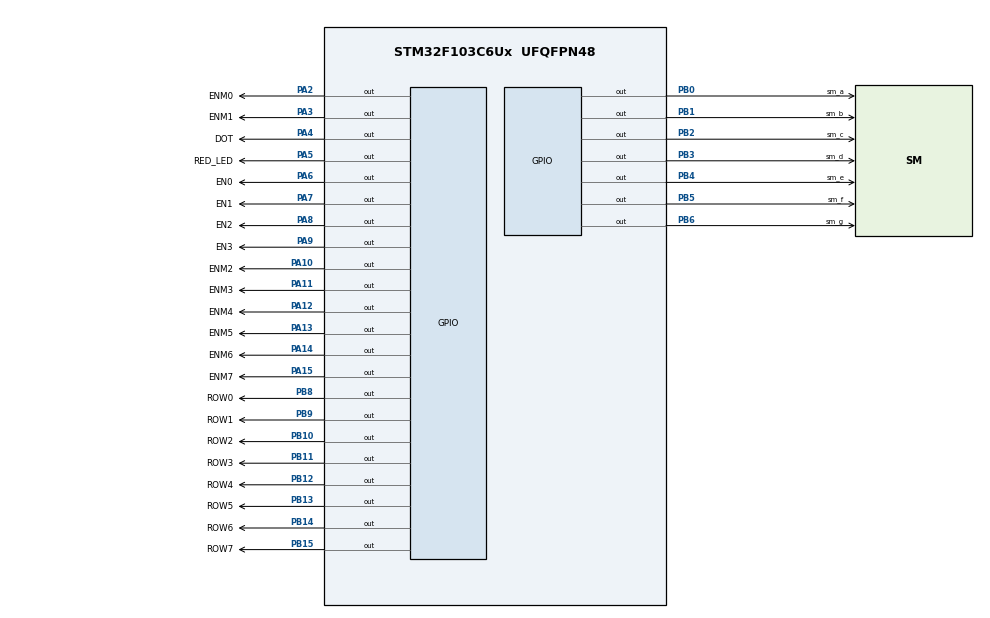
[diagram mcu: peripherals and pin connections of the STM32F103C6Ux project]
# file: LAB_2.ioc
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Mcu.Family=STM32F1
Mcu.Name=STM32F103C6Ux
Mcu.Package=UFQFPN48
NVIC.PriorityGroup=NVIC_PRIORITYGROUP_4
NVIC.TIM2_IRQn=true\:0\:0\:false\:false\:true\:true\:true
PA10.GPIO_Label=ENM2
PA10.Signal=GPIO_Output
PA11.GPIO_Label=ENM3
PA11.Signal=GPIO_Output
PA12.GPIO_Label=ENM4
PA12.Signal=GPIO_Output
PA13.GPIO_Label=ENM5
PA13.Signal=GPIO_Output
PA14.GPIO_Label=ENM6
PA14.Signal=GPIO_Output
PA15.GPIO_Label=ENM7
PA15.Signal=GPIO_Output
PA2.GPIO_Label=ENM0
PA2.Signal=GPIO_Output
PA3.GPIO_Label=ENM1
PA3.Signal=GPIO_Output
PA4.GPIO_Label=DOT
PA4.Signal=GPIO_Output
PA5.GPIO_Label=RED_LED
PA5.Signal=GPIO_Output
PA6.GPIO_Label=EN0
PA6.Signal=GPIO_Output
PA7.GPIO_Label=EN1
PA7.Signal=GPIO_Output
PA8.GPIO_Label=EN2
PA8.Signal=GPIO_Output
PA9.GPIO_Label=EN3
PA9.Signal=GPIO_Output
PB0.GPIO_Label=sm_a
PB0.Signal=GPIO_Output
PB1.GPIO_Label=sm_b
PB1.Signal=GPIO_Output
PB10.GPIO_Label=ROW2
PB10.Signal=GPIO_Output
PB11.GPIO_Label=ROW3
PB11.Signal=GPIO_Output
PB12.GPIO_Label=ROW4
PB12.Signal=GPIO_Output
PB13.GPIO_Label=ROW5
PB13.Signal=GPIO_Output
PB14.GPIO_Label=ROW6
PB14.Signal=GPIO_Output
PB15.GPIO_Label=ROW7
PB15.Signal=GPIO_Output
PB2.GPIO_Label=sm_c
PB2.Signal=GPIO_Output
PB3.GPIO_Label=sm_d
PB3.Signal=GPIO_Output
PB4.GPIO_Label=sm_e
PB4.Signal=GPIO_Output
PB5.GPIO_Label=sm_f
PB5.Signal=GPIO_Output
PB6.GPIO_Label=sm_g
PB6.Signal=GPIO_Output
PB8.GPIO_Label=ROW0
PB8.Signal=GPIO_Output
PB9.GPIO_Label=ROW1
PB9.Signal=GPIO_Output
ProjectManager.HeapSize=0x200
ProjectManager.StackSize=0x400
ProjectManager.TargetToolchain=STM32CubeIDE
RCC.APB1Freq_Value=8000000
RCC.APB2Freq_Value=8000000
TIM2.CounterMode=TIM_COUNTERMODE_UP
TIM2.Period=9
TIM2.Prescaler=799
VP_SYS_VS_ND.Mode=No_Debug
VP_TIM2_VS_ClockSourceINT.Mode=Internal
board=custom

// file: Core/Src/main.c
/* USER CODE BEGIN Header */
/**
  ******************************************************************************
  * @file           : main.c
  * @brief          : Main program body
  ******************************************************************************
  * @attention
  *
  * <h2><center>&copy; Copyright (c) 2023 STMicroelectronics.
  * All rights reserved.</center></h2>
  *
  * This software component is licensed by ST under BSD 3-Clause license,
  * the "License"; You may not use this file except in compliance with the
  * License. You may obtain a copy of the License at:
  *                        opensource.org/licenses/BSD-3-Clause
  *
  ******************************************************************************
  */
/* USER CODE END Header */
#include "main.h"

/* USER CODE BEGIN Includes */
#include "software_timer.h"
/* USER CODE END Includes */

TIM_HandleTypeDef htim2;

void SystemClock_Config(void);
static void MX_TIM2_Init(void);
static void MX_GPIO_Init(void);
/* USER CODE BEGIN PFP */
void display7SEG(int num);
void update7SEG(int index);

const int MAX_LED = 4;
int index_led = 0;
int led_buffer[4] = {1, 2, 3, 4};
int hour = 15, min = 8, sec = 50;

void updateClockBuffer();

const int MAX_LED_MATRIX = 8;
int index_row = 0;
uint8_t matrix_buffer[8] = {0x01, 0x02, 0x03, 0x04, 0x05, 0x06, 0x07, 0x08};

void enableColM(int index);
void updateLEDMatrix(int index);
void displayLetter(uint8_t *arr);

/* USER CODE END PFP */

int main(void)
{

  /* MCU Configuration--------------------------------------------------------*/

  /* Reset of all peripherals, Initializes the Flash interface and the Systick. */
  HAL_Init();

  /* Configure the system clock */
  SystemClock_Config();

  /* Initialize all configured peripherals */
  MX_TIM2_Init();
  MX_GPIO_Init();
  /* USER CODE BEGIN 2 */
  HAL_TIM_Base_Start_IT(&htim2);
  /* USER CODE END 2 */

  /* Infinite loop */
  /* USER CODE BEGIN WHILE */
  setTimer1(1000);
  setTimer2(250);
  setTimer3(4);
  updateClockBuffer();

  uint8_t letterA[8] = {0x00, 0x3F, 0x7F, 0xCC, 0xCC, 0x7F, 0x3F, 0x00};

  displayLetter(letterA);

  int index_col = 0;

  int start_col = 0;

  int delay_counter = 5;
  while (1)
  {
	  if (timer1_flag)
	  {
		  setTimer1(1000);
		  sec++;
		  HAL_GPIO_TogglePin(DOT_GPIO_Port, DOT_Pin);
		  if (sec >= 60) {
			  sec = 0;
			  min++;
		  }

		  if(min >= 60) {
			  min = 0;
			  hour++;
		  }

		  if(hour >=24) {
			  hour = 0;
		  }
		  updateClockBuffer();
	  }

	  if (timer2_flag)
	  {
		  setTimer2(250);
		  if (index_led >= MAX_LED) index_led = 0;
		  update7SEG(index_led++);
	  }

	  if (timer3_flag)
	  {
		  setTimer3(4);
		  if (index_col >= MAX_LED_MATRIX)
		  {
			  index_col = 0;
			  delay_counter--;
			  if (delay_counter <= 0)
			  {
				  delay_counter = 5;
				  start_col++;
				  if (start_col >= MAX_LED_MATRIX) start_col = 0;
				  index_row = start_col;
			  }

		  }

		  if (index_row >= MAX_LED_MATRIX)
		  {
			  index_row = 0;
		  }

		  enableColM(index_col++);
		  updateLEDMatrix(index_row++);
	  }

    /* USER CODE END WHILE */

  }
}

void SystemClock_Config(void)
{
  RCC_OscInitTypeDef RCC_OscInitStruct = {0};
  RCC_ClkInitTypeDef RCC_ClkInitStruct = {0};

  /** Initializes the RCC Oscillators according to the specified parameters
  * in the RCC_OscInitTypeDef structure.
  */
  RCC_OscInitStruct.OscillatorType = RCC_OSCILLATORTYPE_HSI;
  RCC_OscInitStruct.HSIState = RCC_HSI_ON;
  RCC_OscInitStruct.HSICalibrationValue = RCC_HSICALIBRATION_DEFAULT;
  RCC_OscInitStruct.PLL.PLLState = RCC_PLL_NONE;
  if (HAL_RCC_OscConfig(&RCC_OscInitStruct) != HAL_OK)
  {
    Error_Handler();
  }
  /** Initializes the CPU, AHB and APB buses clocks
  */
  RCC_ClkInitStruct.ClockType = RCC_CLOCKTYPE_HCLK|RCC_CLOCKTYPE_SYSCLK
                              |RCC_CLOCKTYPE_PCLK1|RCC_CLOCKTYPE_PCLK2;
  RCC_ClkInitStruct.SYSCLKSource = RCC_SYSCLKSOURCE_HSI;
  RCC_ClkInitStruct.AHBCLKDivider = RCC_SYSCLK_DIV1;
  RCC_ClkInitStruct.APB1CLKDivider = RCC_HCLK_DIV1;
  RCC_ClkInitStruct.APB2CLKDivider = RCC_HCLK_DIV1;

  if (HAL_RCC_ClockConfig(&RCC_ClkInitStruct, FLASH_LATENCY_0) != HAL_OK)
  {
    Error_Handler();
  }
}

static void MX_TIM2_Init(void)
{

  TIM_ClockConfigTypeDef sClockSourceConfig = {0};
  TIM_MasterConfigTypeDef sMasterConfig = {0};

  htim2.Instance = TIM2;
  htim2.Init.Prescaler = 799;
  htim2.Init.CounterMode = TIM_COUNTERMODE_UP;
  htim2.Init.Period = 9;
  htim2.Init.ClockDivision = TIM_CLOCKDIVISION_DIV1;
  htim2.Init.AutoReloadPreload = TIM_AUTORELOAD_PRELOAD_DISABLE;
  if (HAL_TIM_Base_Init(&htim2) != HAL_OK)
  {
    Error_Handler();
  }
  sClockSourceConfig.ClockSource = TIM_CLOCKSOURCE_INTERNAL;
  if (HAL_TIM_ConfigClockSource(&htim2, &sClockSourceConfig) != HAL_OK)
  {
    Error_Handler();
  }
  sMasterConfig.MasterOutputTrigger = TIM_TRGO_RESET;
  sMasterConfig.MasterSlaveMode = TIM_MASTERSLAVEMODE_DISABLE;
  if (HAL_TIMEx_MasterConfigSynchronization(&htim2, &sMasterConfig) != HAL_OK)
  {
    Error_Handler();
  }

}

static void MX_GPIO_Init(void)
{
  GPIO_InitTypeDef GPIO_InitStruct = {0};

  /* GPIO Ports Clock Enable */
  __HAL_RCC_GPIOA_CLK_ENABLE();
  __HAL_RCC_GPIOB_CLK_ENABLE();

  /*Configure GPIO pin Output Level */
  HAL_GPIO_WritePin(GPIOA, ENM0_Pin|ENM1_Pin|DOT_Pin|RED_LED_Pin
                          |EN0_Pin|EN1_Pin|EN2_Pin|EN3_Pin
                          |ENM2_Pin|ENM3_Pin|ENM4_Pin|ENM5_Pin
                          |ENM6_Pin|ENM7_Pin, GPIO_PIN_RESET);

  /*Configure GPIO pin Output Level */
  HAL_GPIO_WritePin(GPIOB, sm_a_Pin|sm_b_Pin|sm_c_Pin|ROW2_Pin
                          |ROW3_Pin|ROW4_Pin|ROW5_Pin|ROW6_Pin
                          |ROW7_Pin|sm_d_Pin|sm_e_Pin|sm_f_Pin
                          |sm_g_Pin|ROW0_Pin|ROW1_Pin, GPIO_PIN_RESET);

  /*Configure GPIO pins : ENM0_Pin ENM1_Pin DOT_Pin RED_LED_Pin
                           EN0_Pin EN1_Pin EN2_Pin EN3_Pin
                           ENM2_Pin ENM3_Pin ENM4_Pin ENM5_Pin
                           ENM6_Pin ENM7_Pin */
  GPIO_InitStruct.Pin = ENM0_Pin|ENM1_Pin|DOT_Pin|RED_LED_Pin
                          |EN0_Pin|EN1_Pin|EN2_Pin|EN3_Pin
                          |ENM2_Pin|ENM3_Pin|ENM4_Pin|ENM5_Pin
                          |ENM6_Pin|ENM7_Pin;
  GPIO_InitStruct.Mode = GPIO_MODE_OUTPUT_PP;
  GPIO_InitStruct.Pull = GPIO_NOPULL;
  GPIO_InitStruct.Speed = GPIO_SPEED_FREQ_LOW;
  HAL_GPIO_Init(GPIOA, &GPIO_InitStruct);

  /*Configure GPIO pins : sm_a_Pin sm_b_Pin sm_c_Pin ROW2_Pin
                           ROW3_Pin ROW4_Pin ROW5_Pin ROW6_Pin
                           ROW7_Pin sm_d_Pin sm_e_Pin sm_f_Pin
                           sm_g_Pin ROW0_Pin ROW1_Pin */
  GPIO_InitStruct.Pin = sm_a_Pin|sm_b_Pin|sm_c_Pin|ROW2_Pin
                          |ROW3_Pin|ROW4_Pin|ROW5_Pin|ROW6_Pin
                          |ROW7_Pin|sm_d_Pin|sm_e_Pin|sm_f_Pin
                          |sm_g_Pin|ROW0_Pin|ROW1_Pin;
  GPIO_InitStruct.Mode = GPIO_MODE_OUTPUT_PP;
  GPIO_InitStruct.Pull = GPIO_NOPULL;
  GPIO_InitStruct.Speed = GPIO_SPEED_FREQ_LOW;
  HAL_GPIO_Init(GPIOB, &GPIO_InitStruct);

}

/* USER CODE BEGIN 4 */
void HAL_TIM_PeriodElapsedCallback(TIM_HandleTypeDef *htim)
{
	timerRun();
}

void display7SEG(int num)
{
	switch (num)
	{
	case 0:
		HAL_GPIO_WritePin(GPIOB, sm_a_Pin|sm_b_Pin|sm_c_Pin|sm_d_Pin
		                        |sm_e_Pin|sm_f_Pin, GPIO_PIN_RESET);
		HAL_GPIO_WritePin(sm_g_GPIO_Port, sm_g_Pin, GPIO_PIN_SET);
		break;

	case 1:
		HAL_GPIO_WritePin(GPIOB, sm_a_Pin|sm_d_Pin
		                        |sm_e_Pin|sm_f_Pin|sm_g_Pin, GPIO_PIN_SET);
		HAL_GPIO_WritePin(GPIOB, sm_b_Pin|sm_c_Pin, GPIO_PIN_RESET);
		break;

	case 2:
		HAL_GPIO_WritePin(GPIOB, sm_a_Pin|sm_b_Pin|sm_d_Pin
		                        |sm_e_Pin|sm_g_Pin, GPIO_PIN_RESET);
		HAL_GPIO_WritePin(GPIOB, sm_c_Pin|sm_f_Pin, GPIO_PIN_SET);
		break;

	case 3:
		HAL_GPIO_WritePin(GPIOB, sm_a_Pin|sm_b_Pin|sm_c_Pin
								|sm_d_Pin|sm_g_Pin, GPIO_PIN_RESET);
		HAL_GPIO_WritePin(GPIOB, sm_e_Pin|sm_f_Pin, GPIO_PIN_SET);
		break;

	case 4:
		HAL_GPIO_WritePin(GPIOB, sm_b_Pin|sm_c_Pin
		                        |sm_f_Pin|sm_g_Pin, GPIO_PIN_RESET);
		HAL_GPIO_WritePin(GPIOB, sm_a_Pin|sm_d_Pin|sm_e_Pin, GPIO_PIN_SET);
		break;

	case 5:
		HAL_GPIO_WritePin(GPIOB, sm_a_Pin|sm_c_Pin|sm_d_Pin
		                        |sm_f_Pin|sm_g_Pin, GPIO_PIN_RESET);
		HAL_GPIO_WritePin(GPIOB, sm_b_Pin|sm_e_Pin, GPIO_PIN_SET);

		break;

	case 6:
		HAL_GPIO_WritePin(GPIOB, sm_a_Pin|sm_c_Pin|sm_d_Pin
		                        |sm_e_Pin|sm_f_Pin|sm_g_Pin, GPIO_PIN_RESET);
		HAL_GPIO_WritePin(GPIOB, sm_b_Pin, GPIO_PIN_SET);
		break;

	case 7:
		HAL_GPIO_WritePin(GPIOB, sm_a_Pin|sm_b_Pin|sm_c_Pin, GPIO_PIN_RESET);
		HAL_GPIO_WritePin(GPIOB, sm_d_Pin|sm_e_Pin|sm_f_Pin|sm_g_Pin, GPIO_PIN_SET);
		break;

	case 8:
		HAL_GPIO_WritePin(GPIOB, sm_a_Pin|sm_b_Pin|sm_c_Pin|sm_d_Pin
		                        |sm_e_Pin|sm_f_Pin|sm_g_Pin, GPIO_PIN_RESET);
		break;

	case 9:
		HAL_GPIO_WritePin(GPIOB, sm_a_Pin|sm_b_Pin|sm_c_Pin
								|sm_d_Pin|sm_f_Pin|sm_g_Pin, GPIO_PIN_RESET);
		HAL_GPIO_WritePin(GPIOB, sm_e_Pin, GPIO_PIN_SET);
		break;

	default:
		break;
	}
}
void update7SEG(int index){
    switch (index){
        case 0:
        	// enable led 0 and disable led 1, 2, 3
        	HAL_GPIO_WritePin(GPIOA, EN0_Pin, GPIO_PIN_RESET);
        	HAL_GPIO_WritePin(GPIOA, EN1_Pin|EN2_Pin|EN3_Pin, GPIO_PIN_SET);
        	display7SEG(led_buffer[0]);
            break;

        case 1:
        	// enable led 1 and disable led 0, 2, 3
        	HAL_GPIO_WritePin(GPIOA, EN1_Pin, GPIO_PIN_RESET);
        	HAL_GPIO_WritePin(GPIOA, EN0_Pin|EN2_Pin|EN3_Pin, GPIO_PIN_SET);
        	display7SEG(led_buffer[1]);
            break;

        case 2:
        	// enable led 2 and disable led 0, 1, 3
        	HAL_GPIO_WritePin(GPIOA, EN2_Pin, GPIO_PIN_RESET);
        	HAL_GPIO_WritePin(GPIOA, EN0_Pin|EN1_Pin|EN3_Pin, GPIO_PIN_SET);
            display7SEG(led_buffer[2]);
            break;

        case 3:
        	// enable led 3 and disable led 0, 1, 2
        	HAL_GPIO_WritePin(GPIOA, EN3_Pin, GPIO_PIN_RESET);
        	HAL_GPIO_WritePin(GPIOA, EN1_Pin|EN2_Pin|EN0_Pin, GPIO_PIN_SET);
            display7SEG(led_buffer[3]);
            break;

        default:
            break;
    }
}

void updateClockBuffer()
{
	led_buffer[0] = hour/10;
	led_buffer[1] = hour%10;
	led_buffer[2] = min/10;
	led_buffer[3] = min%10;
}

void enableColM(int index)
{
	switch (index)
	{
	case 0:
		HAL_GPIO_WritePin(GPIOA, ENM1_Pin|ENM2_Pin|ENM3_Pin|ENM4_Pin
								|ENM5_Pin|ENM6_Pin|ENM7_Pin, GPIO_PIN_RESET);
		HAL_GPIO_WritePin(GPIOA, ENM0_Pin, GPIO_PIN_SET);
		break;

	case 1:
		HAL_GPIO_WritePin(GPIOA, ENM0_Pin|ENM2_Pin|ENM3_Pin|ENM4_Pin
								|ENM5_Pin|ENM6_Pin|ENM7_Pin, GPIO_PIN_RESET);
		HAL_GPIO_WritePin(GPIOA, ENM1_Pin, GPIO_PIN_SET);
		break;

	case 2:
		HAL_GPIO_WritePin(GPIOA, ENM0_Pin|ENM1_Pin|ENM3_Pin|ENM4_Pin
								|ENM5_Pin|ENM6_Pin|ENM7_Pin, GPIO_PIN_RESET);
		HAL_GPIO_WritePin(GPIOA, ENM2_Pin, GPIO_PIN_SET);
		break;

	case 3:
		HAL_GPIO_WritePin(GPIOA, ENM0_Pin|ENM1_Pin|ENM2_Pin|ENM4_Pin
								|ENM5_Pin|ENM6_Pin|ENM7_Pin, GPIO_PIN_RESET);
		HAL_GPIO_WritePin(GPIOA, ENM3_Pin, GPIO_PIN_SET);
		break;

	case 4:
		HAL_GPIO_WritePin(GPIOA, ENM0_Pin|ENM1_Pin|ENM2_Pin|ENM3_Pin
								|ENM5_Pin|ENM6_Pin|ENM7_Pin, GPIO_PIN_RESET);
		HAL_GPIO_WritePin(GPIOA, ENM4_Pin, GPIO_PIN_SET);
		break;

	case 5:
		HAL_GPIO_WritePin(GPIOA, ENM0_Pin|ENM1_Pin|ENM2_Pin|ENM3_Pin
								|ENM4_Pin|ENM6_Pin|ENM7_Pin, GPIO_PIN_RESET);
		HAL_GPIO_WritePin(GPIOA, ENM5_Pin, GPIO_PIN_SET);
		break;

	case 6:
		HAL_GPIO_WritePin(GPIOA, ENM0_Pin|ENM1_Pin|ENM2_Pin|ENM3_Pin
								|ENM4_Pin|ENM5_Pin|ENM7_Pin, GPIO_PIN_RESET);
		HAL_GPIO_WritePin(GPIOA, ENM6_Pin, GPIO_PIN_SET);
		break;

	case 7:
		HAL_GPIO_WritePin(GPIOA, ENM0_Pin|ENM1_Pin|ENM2_Pin|ENM3_Pin
								|ENM4_Pin|ENM5_Pin|ENM6_Pin, GPIO_PIN_RESET);
		HAL_GPIO_WritePin(GPIOA, ENM7_Pin, GPIO_PIN_SET);
		break;

	default:
		break;
	}
}

void updateLEDMatrix(int index)
{
	if (index >= 0 && index < MAX_LED_MATRIX)
	{
		HAL_GPIO_WritePin(ROW0_GPIO_Port, ROW0_Pin, (matrix_buffer[index] >> 7) & 0x01);
		HAL_GPIO_WritePin(ROW1_GPIO_Port, ROW1_Pin, (matrix_buffer[index] >> 6) & 0x01);
		HAL_GPIO_WritePin(ROW2_GPIO_Port, ROW2_Pin, (matrix_buffer[index] >> 5) & 0x01);
		HAL_GPIO_WritePin(ROW3_GPIO_Port, ROW3_Pin, (matrix_buffer[index] >> 4) & 0x01);
		HAL_GPIO_WritePin(ROW4_GPIO_Port, ROW4_Pin, (matrix_buffer[index] >> 3) & 0x01);
		HAL_GPIO_WritePin(ROW5_GPIO_Port, ROW5_Pin, (matrix_buffer[index] >> 2) & 0x01);
		HAL_GPIO_WritePin(ROW6_GPIO_Port, ROW6_Pin, (matrix_buffer[index] >> 1) & 0x01);
		HAL_GPIO_WritePin(ROW7_GPIO_Port, ROW7_Pin, (matrix_buffer[index]) & 0x01);
	}

}

void displayLetter(uint8_t *arr)
{
	for (int i = 0; i < MAX_LED_MATRIX; i++)
	{
		matrix_buffer[i] = arr[i];
	}
}

/* USER CODE END 4 */

void Error_Handler(void)
{
  __disable_irq();
  while (1)
  {
  }
}

/************************ (C) COPYRIGHT STMicroelectronics *****END OF FILE****/
